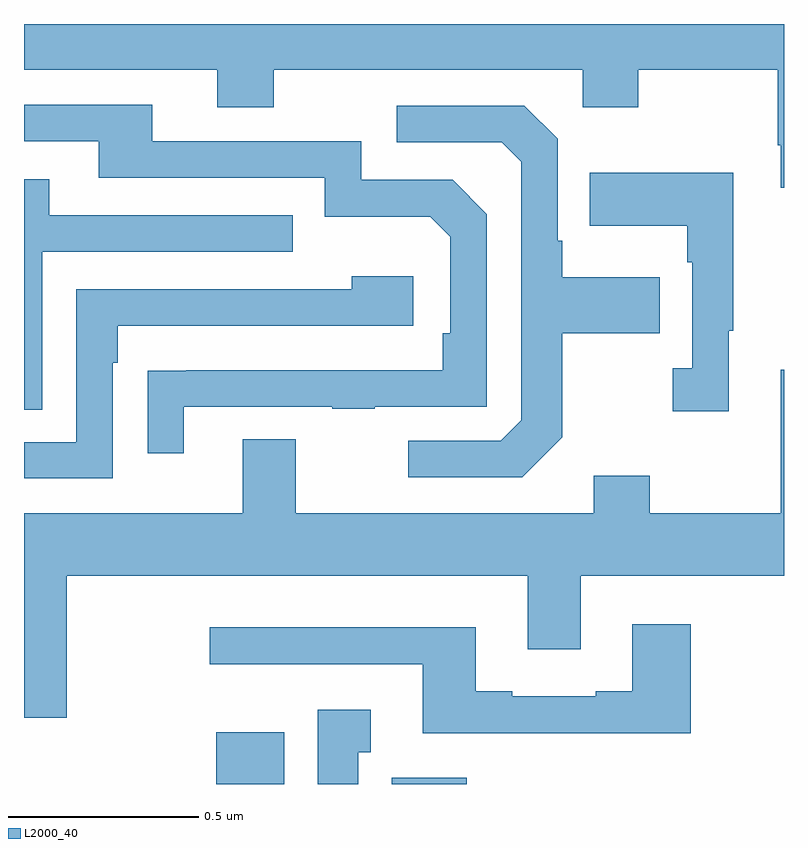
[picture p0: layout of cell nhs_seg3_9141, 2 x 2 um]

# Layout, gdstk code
import gdstk
lib = gdstk.Library(unit=1e-6, precision=1e-09)
def R(c, l, rs):  # rectangles x0, y0, x1, y1
    for r in rs: c.add(gdstk.rectangle(r[:2], r[2:], *l))
def P(c, l, *ps):  # polygons
    for p in ps: c.add(gdstk.Polygon(p, *l))
L2000_40 = (2000, 40)

nhs_seg3_9141 = lib.new_cell('nhs_seg3_9141')
R(nhs_seg3_9141, L2000_40, [(225.506,668.4,225.685,668.536), (225.968,668.4,226.165,668.416)])
P(nhs_seg3_9141, L2000_40, [(227,670.4),(225,670.4),(225,670.28),(225.509,670.28),(225.509,670.181),(225.657,670.181),(225.657,670.28),(226.47,670.28),(226.47,670.181),(226.617,670.181),(226.617,670.28),(226.984,670.28),(226.984,670.081),(226.991,670.081),(226.991,669.969),(227,669.969)],
  [(225.421,669.393),(225.811,669.393),(225.811,669.388),(225.923,669.388),(225.923,669.393),(226.218,669.393),(226.218,669.9),(226.128,669.99),(225.888,669.99),(225.888,670.092),(225.337,670.092),(225.337,670.188),(225,670.188),(225,670.092),(225.197,670.092),(225.197,669.996),(225.792,669.996),(225.792,669.893),(226.069,669.893),(226.122,669.84),(226.122,669.586),(226.102,669.586),(226.102,669.489),(225.427,669.489),(225.427,669.488),(225.325,669.488),(225.325,669.27),(225.421,669.27)],
  [(226.417,669.313),(226.417,669.586),(226.673,669.586),(226.673,669.733),(226.417,669.733),(226.417,669.829),(226.404,669.829),(226.404,670.098),(226.317,670.185),(225.981,670.185),(225.981,670.089),(226.257,670.089),(226.308,670.038),(226.308,669.357),(226.254,669.303),(226.011,669.303),(226.011,669.207),(226.311,669.207)],
  [(226.855,669.593),(226.867,669.593),(226.867,670.009),(226.489,670.009),(226.489,669.869),(226.746,669.869),(226.746,669.773),(226.758,669.773),(226.758,669.494),(226.707,669.494),(226.707,669.381),(226.855,669.381)],
  [(225.048,669.801),(225.707,669.801),(225.707,669.897),(225.067,669.897),(225.067,669.991),(225,669.991),(225,669.385),(225.048,669.385)],
  [(225.234,669.509),(225.247,669.509),(225.247,669.606),(226.024,669.606),(226.024,669.736),(225.863,669.736),(225.863,669.702),(225.138,669.702),(225.138,669.3),(225,669.3),(225,669.204),(225.234,669.204)],
  [(225.112,668.948),(226.325,668.948),(226.325,668.754),(226.465,668.754),(226.465,668.948),(227,668.948),(227,669.49),(226.991,669.49),(226.991,669.112),(226.647,669.112),(226.647,669.211),(226.499,669.211),(226.499,669.112),(225.715,669.112),(225.715,669.307),(225.575,669.307),(225.575,669.112),(225,669.112),(225,668.574),(225.112,668.574)],
  [(226.754,668.821),(226.601,668.821),(226.601,668.644),(226.505,668.644),(226.505,668.631),(226.285,668.631),(226.285,668.644),(226.189,668.644),(226.189,668.812),(225.489,668.812),(225.489,668.715),(226.049,668.715),(226.049,668.534),(226.754,668.534)],
  [(225.88,668.483),(225.913,668.483),(225.913,668.596),(225.773,668.596),(225.773,668.4),(225.88,668.4)])

lib.write_gds('nhs_seg3_9141.gds')
